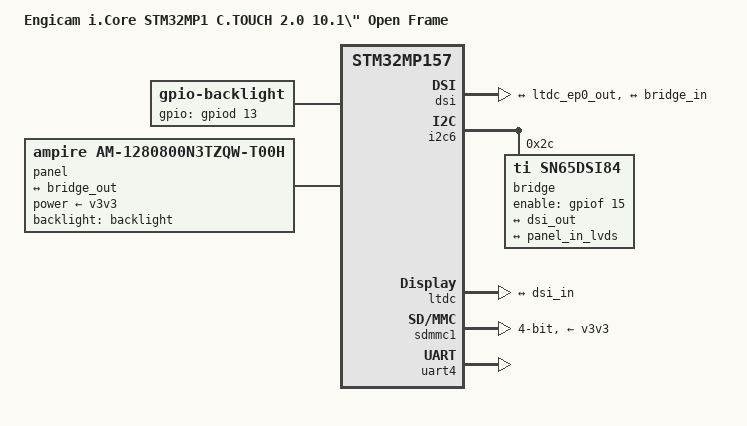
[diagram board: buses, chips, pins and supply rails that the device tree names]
// SPDX-License-Identifier: (GPL-2.0+ OR BSD-3-Clause)
/*
 * Copyright (c) STMicroelectronics 2019 - All Rights Reserved
 * Copyright (c) 2020 Engicam srl
 * Copyright (c) 2020 Amarula Solutons(India)
 */

/dts-v1/;
#include "stm32mp157.dtsi"
#include "stm32mp157a-icore-stm32mp1.dtsi"
#include "stm32mp15-pinctrl.dtsi"
#include "stm32mp15xxaa-pinctrl.dtsi"
#include <dt-bindings/gpio/gpio.h>

/ {
	model = "Engicam i.Core STM32MP1 C.TOUCH 2.0 10.1\" Open Frame";
	compatible = "engicam,icore-stm32mp1-ctouch2-of10",
		     "engicam,icore-stm32mp1", "st,stm32mp157";

	aliases {
		serial0 = &uart4;
	};

	backlight: backlight {
		compatible = "gpio-backlight";
		gpios = <&gpiod 13 GPIO_ACTIVE_HIGH>;
		default-on;
	};

	chosen {
		stdout-path = "serial0:115200n8";
	};

	panel {
		compatible = "ampire,am-1280800n3tzqw-t00h";
		backlight = <&backlight>;
		power-supply = <&v3v3>;

		port {
			panel_in_lvds: endpoint {
				remote-endpoint = <&bridge_out>;
			};
		};
	};
};

&dsi {
	status = "okay";
	phy-dsi-supply = <&reg18>;

	ports {
		port@0 {
			reg = <0>;
			dsi_in: endpoint {
				remote-endpoint = <&ltdc_ep0_out>;
			};
		};

		port@1 {
			reg = <1>;
			dsi_out: endpoint {
				remote-endpoint = <&bridge_in>;
			};
		};
	};
};

&i2c6 {
	i2c-scl-falling-time-ns = <20>;
	i2c-scl-rising-time-ns = <185>;
	pinctrl-names = "default", "sleep";
	pinctrl-0 = <&i2c6_pins_a>;
	pinctrl-1 = <&i2c6_sleep_pins_a>;
	status = "okay";

	bridge@2c {
		compatible = "ti,sn65dsi84";
		reg = <0x2c>;
		enable-gpios = <&gpiof 15 GPIO_ACTIVE_HIGH>;

		ports {
			#address-cells = <1>;
			#size-cells = <0>;

			port@0 {
				reg = <0>;
				bridge_in: endpoint {
					remote-endpoint = <&dsi_out>;
					data-lanes = <1 2>;
				};
			};

			port@2 {
				reg = <2>;
				bridge_out: endpoint {
					remote-endpoint = <&panel_in_lvds>;
				};
			};
		};
	};
};

&ltdc {
	status = "okay";

	port {
		ltdc_ep0_out: endpoint@0 {
			reg = <0>;
			remote-endpoint = <&dsi_in>;
		};
	};
};

&sdmmc1 {
	bus-width = <4>;
	disable-wp;
	pinctrl-names = "default", "opendrain", "sleep";
	pinctrl-0 = <&sdmmc1_b4_pins_a>;
	pinctrl-1 = <&sdmmc1_b4_od_pins_a>;
	pinctrl-2 = <&sdmmc1_b4_sleep_pins_a>;
	st,neg-edge;
	vmmc-supply = <&v3v3>;
	status = "okay";
};

&uart4 {
	pinctrl-names = "default", "sleep", "idle";
	pinctrl-0 = <&uart4_pins_a>;
	pinctrl-1 = <&uart4_sleep_pins_a>;
	pinctrl-2 = <&uart4_idle_pins_a>;
	status = "okay";
};
